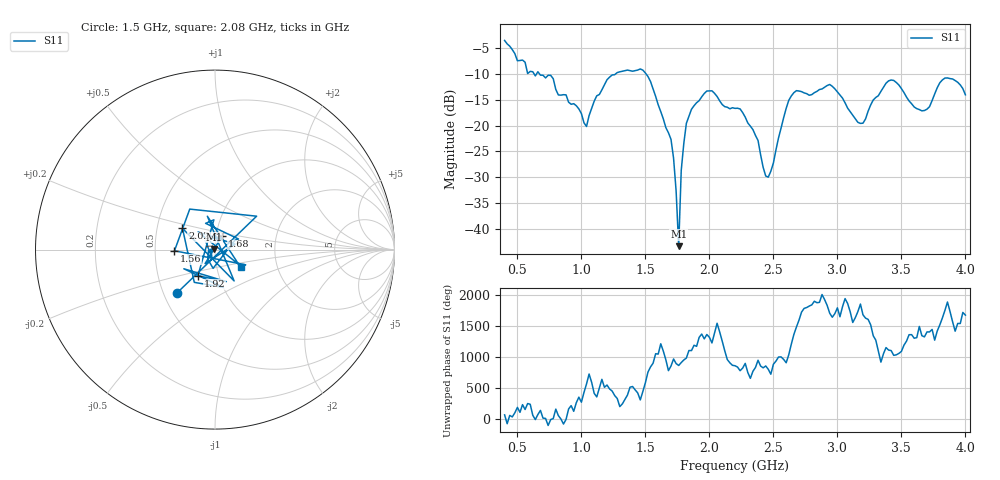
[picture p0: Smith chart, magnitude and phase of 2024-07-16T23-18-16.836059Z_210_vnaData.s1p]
!Created with skrf (http://scikit-rf.org).
# Hz S RI R 50.0
!freq ReS11 ImS11
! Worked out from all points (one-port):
!   181 points, 400 MHz to 4 GHz, reference 50 ohm
!   lowest |S11| = -43.3 dB at 1.76 GHz (marker M1), VSWR 1.01, Z = 49.4 + j0.386 ohm
!   |S11| at or under -10 dB: 629.5 MHz to 650.5 MHz (21.02 MHz wide, 3.28 % of centre); 671.5 MHz to 1.269 GHz (597.6 MHz wide, 61.6 % of centre); 1.504 GHz to end of sweep
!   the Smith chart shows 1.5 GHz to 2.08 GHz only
!   S11 on the Smith chart (normalised r, x): 1.5 GHz: 0.59, -0.32; 1.56 GHz: 0.63, -0.01; 1.68 GHz: 1.07, +0.16; 1.92 GHz: 0.79, -0.24; 2.02 GHz: 0.68, +0.17; 2.08 GHz: 1.30, -0.26
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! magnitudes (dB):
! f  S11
! 400 MHz  -3.6
! 580 MHz  -10.0
! 860 MHz  -14.0
! 1.04 GHz  -20.2
! 1.12 GHz  -14.3
! 1.3 GHz  -9.6
! 1.5 GHz  -9.9
! 1.56 GHz  -12.9
! 1.68 GHz  -21.4
! 1.72 GHz  -26.3
! 1.76 GHz  -43.3
! 1.78 GHz  -28.6
! 1.82 GHz  -19.6
! 1.92 GHz  -15.2
! 2.02 GHz  -13.3
! 2.08 GHz  -15.2
! 2.2 GHz  -16.7
! 2.34 GHz  -20.8
! 2.46 GHz  -30.0
! 2.66 GHz  -13.7
! 2.94 GHz  -12.1
! 3.1 GHz  -17.3
! 3.2 GHz  -19.5
! 3.42 GHz  -11.2
! 3.56 GHz  -15.3
! 3.7 GHz  -16.8
! 3.84 GHz  -10.8
! 4 GHz  -14.1
